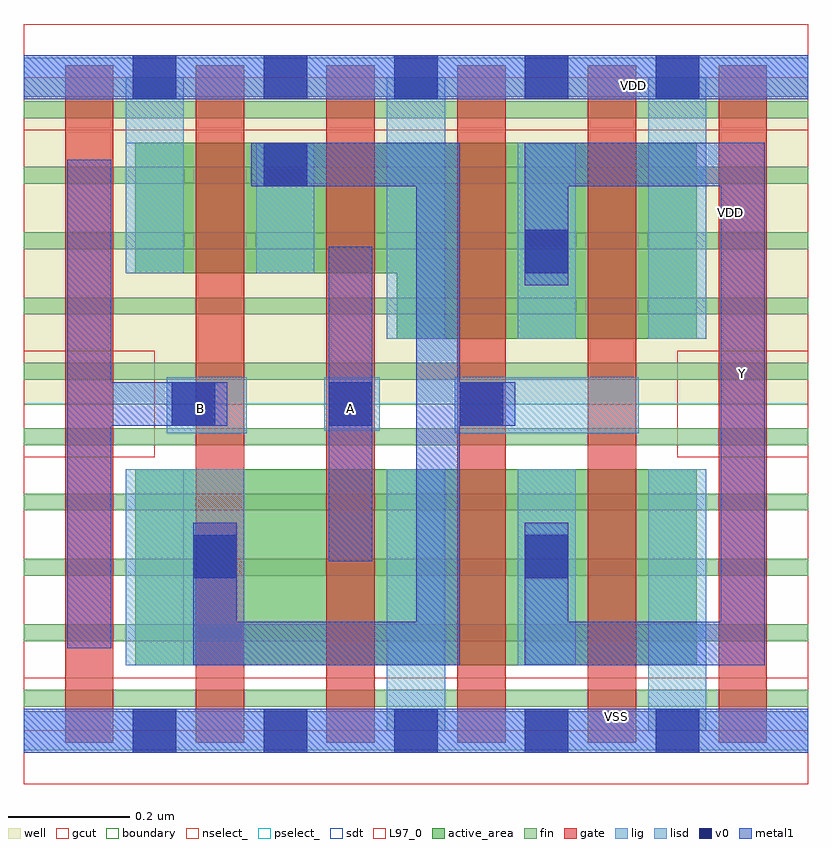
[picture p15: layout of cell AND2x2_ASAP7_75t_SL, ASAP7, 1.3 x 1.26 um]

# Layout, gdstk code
import gdstk
lib = gdstk.Library(unit=1e-6, precision=2.5e-10)
def R(c, l, rs):  # rectangles x0, y0, x1, y1
    for r in rs: c.add(gdstk.rectangle(r[:2], r[2:], *l))
def A(c, l, x, y, w, h, nx, ny, dx, dy):  # array of equal rectangles
    R(c, l, [(x+i*dx, y+j*dy, x+i*dx+w, y+j*dy+h) for i in range(nx) for j in range(ny)])
def P(c, l, *ps):  # polygons
    for p in ps: c.add(gdstk.Polygon(p, *l))
well = (1, 0)
fin = (2, 0)
gate = (7, 0)
gcut = (10, 0)
active_area = (11, 0)
nselect_ = (12, 0)
pselect_ = (13, 0)
lig = (16, 0)
lisd = (17, 0)
v0 = (18, 0)
metal1 = (19, 0)
sdt = (88, 0)
L97_0 = (97, 0)
boundary = (100, 0)

and2x2_asap7_75t_sl = lib.new_cell('AND2x2_ASAP7_75t_SL')
R(and2x2_asap7_75t_sl, well, [(0,0.54,1.296,1.08)])
A(and2x2_asap7_75t_sl, fin, 0, 0.04, 1.296, 0.028, 1, 10, 0, 0.108)
A(and2x2_asap7_75t_sl, gate, 0.068, -0.02, 0.08, 1.12, 6, 1, 0.216, 0)
R(and2x2_asap7_75t_sl, gcut, [(0,-0.088,1.296,0.088), (0,0.452,0.216,0.628), (1.08,0.452,1.296,0.628), (0,0.992,1.296,1.168)])
R(and2x2_asap7_75t_sl, active_area, [(0.184,0.108,1.112,0.432)])
P(and2x2_asap7_75t_sl, active_area, [(1.112,0.972),(0.184,0.972),(0.184,0.756),(0.616,0.756),(0.616,0.648),(1.112,0.648)])
R(and2x2_asap7_75t_sl, nselect_, [(0,0,1.296,0.54)])
R(and2x2_asap7_75t_sl, pselect_, [(0,0.54,1.296,1.08)])
R(and2x2_asap7_75t_sl, lig, [(0,-0.032,1.296,0.032), (0.236,0.492,0.368,0.584), (0.712,0.492,1.016,0.584), (0.496,0.496,0.588,0.584), (0,1.048,1.296,1.112)])
R(and2x2_asap7_75t_sl, lisd, [(0.6,0,0.696,0.432), (1.032,0,1.128,0.432), (0.168,0.108,0.364,0.432), (0.816,0.108,0.912,0.432), (0.6,0.648,0.696,1.08), (0.816,0.648,0.912,0.972), (1.032,0.648,1.128,1.08), (0.168,0.756,0.264,1.08), (0.384,0.756,0.48,0.972)])
A(and2x2_asap7_75t_sl, v0, 0.18, -0.036, 0.072, 0.072, 5, 2, 0.216, 1.08)
R(and2x2_asap7_75t_sl, v0, [(0.28,0.252,0.352,0.324), (0.828,0.252,0.9,0.324), (0.244,0.504,0.316,0.576), (0.504,0.504,0.576,0.576), (0.72,0.504,0.792,0.576), (0.828,0.756,0.9,0.828), (0.396,0.9,0.468,0.972)])
R(and2x2_asap7_75t_sl, metal1, [(0,-0.036,1.296,0.036), (0.504,0.28,0.576,0.8), (0,1.044,1.296,1.116)])
P(and2x2_asap7_75t_sl, metal1, [(1.224,0.972),(0.828,0.972),(0.828,0.736),(0.9,0.736),(0.9,0.9),(1.152,0.9),(1.152,0.18),(0.9,0.18),(0.9,0.344),(0.828,0.344),(0.828,0.108),(1.224,0.108)],
  [(0.812,0.576),(0.72,0.576),(0.72,0.972),(0.376,0.972),(0.376,0.9),(0.648,0.9),(0.648,0.18),(0.352,0.18),(0.352,0.344),(0.28,0.344),(0.28,0.108),(0.72,0.108),(0.72,0.504),(0.812,0.504)],
  [(0.336,0.576),(0.144,0.576),(0.144,0.944),(0.072,0.944),(0.072,0.136),(0.144,0.136),(0.144,0.504),(0.336,0.504)])
A(and2x2_asap7_75t_sl, sdt, 0.6, 0.108, 0.096, 0.324, 3, 2, 0.216, 0.54)
R(and2x2_asap7_75t_sl, sdt, [(0.168,0.108,0.264,0.432), (0.168,0.756,0.264,0.972), (0.384,0.756,0.48,0.972)])
R(and2x2_asap7_75t_sl, L97_0, [(0,0,1.296,1.08)])
R(and2x2_asap7_75t_sl, boundary, [(0,0,1.296,1.08)])
and2x2_asap7_75t_sl.add(gdstk.Label('B', (0.292,0.532), layer=19, texttype=251))
and2x2_asap7_75t_sl.add(gdstk.Label('A', (0.54,0.532), layer=19, texttype=251))
and2x2_asap7_75t_sl.add(gdstk.Label('Y', (1.188,0.59), layer=19, texttype=251))
and2x2_asap7_75t_sl.add(gdstk.Label('VDD', (1.008,1.066), layer=19, texttype=251))
and2x2_asap7_75t_sl.add(gdstk.Label('VSS', (0.98,0.024), layer=19, texttype=251))
and2x2_asap7_75t_sl.add(gdstk.Label('VDD', (1.168,0.856), layer=1, texttype=251))
and2x2_asap7_75t_sl.add(gdstk.Label('VSS', (1.444,0.852), layer=3, texttype=251))

lib.write_gds('AND2x2_ASAP7_75t_SL.gds')
